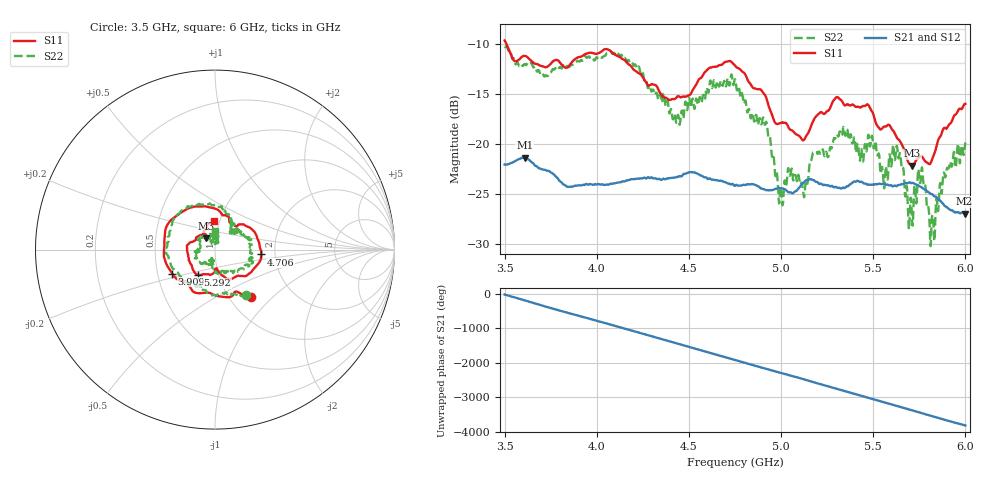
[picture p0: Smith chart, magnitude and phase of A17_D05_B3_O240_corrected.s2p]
! Created with skrf 1.9.0 (http://scikit-rf.org).
# Hz S RI R 50.0
!freq ReS11 ImS11 ReS21 ImS21 ReS12 ImS12 ReS22 ImS22
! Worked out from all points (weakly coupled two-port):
!   1601 points, 3.5 GHz to 6 GHz, reference 50 ohm
!   highest |S21| = -21.33 dB at 3.609 GHz (marker M1); lowest = -26.9 dB at 5.995 GHz (marker M2)
!   lowest |S11| = -22.1 dB at 5.713 GHz (marker M3), VSWR 1.17, Z = 45.1 + j5.64 ohm
!   |S11| at or under -10 dB: 3.511 GHz to end of sweep
!   |S22| runs from -30.2 to -10.1 dB; largest |S21 - S12| = 0.00095
!   S11 on the Smith chart (normalised r, x): 3.5 GHz: 1.26, -0.74; 3.909 GHz: 0.60, -0.17; 4.706 GHz: 1.69, -0.10; 5.292 GHz: 0.80, -0.23; 6 GHz: 0.94, +0.31
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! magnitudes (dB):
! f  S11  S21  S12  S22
! 3.5 GHz  -9.6  -22.0  -22.0  -10.3
! 3.609 GHz  -11.2  -21.3  -21.3  -12.0
! 3.909 GHz  -11.3  -24.1  -24.1  -11.7
! 3.917 GHz  -11.2  -24.1  -24.1  -11.6
! 4.123 GHz  -11.3  -23.8  -23.8  -11.2
! 4.334 GHz  -14.5  -23.5  -23.4  -15.5
! 4.441 GHz  -15.2  -23.3  -23.2  -17.1
! 4.706 GHz  -11.7  -23.9  -23.8  -13.7
! 4.75 GHz  -12.1  -24.1  -24.1  -13.5
! 4.914 GHz  -15.1  -24.6  -24.5  -18.0
! 4.998 GHz  -17.9  -24.4  -24.4  -24.2
! 5.131 GHz  -19.4  -23.7  -23.7  -24.2
! 5.167 GHz  -18.0  -23.5  -23.5  -21.3
! 5.292 GHz  -15.5  -24.3  -24.3  -19.4
! 5.584 GHz  -18.1  -24.1  -24.1  -21.7
! 5.636 GHz  -19.5  -24.1  -24.0  -21.3
! 5.713 GHz  -22.1  -23.9  -23.8  -28.1
! 5.756 GHz  -21.2  -24.2  -24.2  -23.8
! 5.822 GHz  -21.4  -25.0  -25.0  -27.1
! 5.891 GHz  -18.3  -26.2  -26.2  -23.3
! 5.995 GHz  -16.0  -26.9  -26.8  -20.5
! 6 GHz  -16.0  -26.9  -26.9  -19.8
